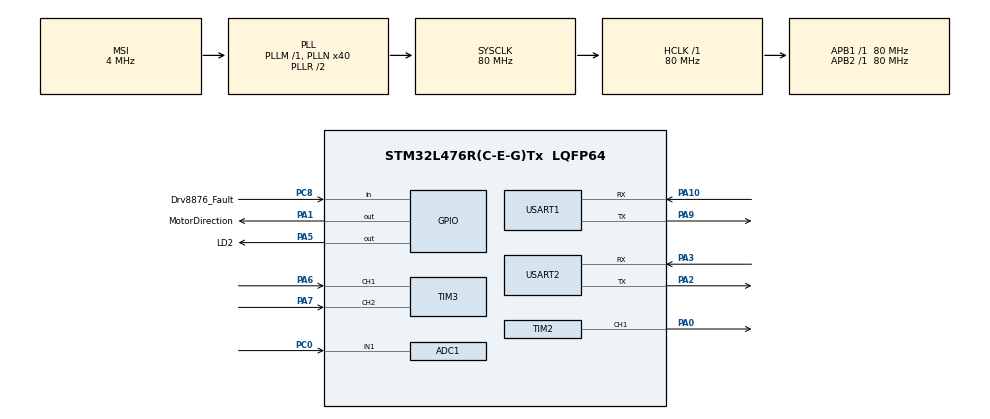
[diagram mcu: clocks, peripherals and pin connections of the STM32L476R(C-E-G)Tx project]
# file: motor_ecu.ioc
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ADC1.Channel-1\#ChannelRegularConversion=ADC_CHANNEL_1
ADC1.ContinuousConvMode=ENABLE
ADC1.NbrOfConversionFlag=1
ADC1.OffsetNumber-1\#ChannelRegularConversion=ADC_OFFSET_NONE
ADC1.Overrun=ADC_OVR_DATA_OVERWRITTEN
ADC1.OversamplingMode=ENABLE
ADC1.Rank-1\#ChannelRegularConversion=1
ADC1.Ratio=ADC_OVERSAMPLING_RATIO_16
ADC1.RightBitShift=ADC_RIGHTBITSHIFT_4
ADC1.SamplingTime-1\#ChannelRegularConversion=ADC_SAMPLETIME_640CYCLES_5
ADC1.master=1
Mcu.Family=STM32L4
Mcu.Name=STM32L476R(C-E-G)Tx
Mcu.Package=LQFP64
NVIC.PriorityGroup=NVIC_PRIORITYGROUP_4
NVIC.USART1_IRQn=true\:8\:0\:true\:false\:true\:true\:true\:true
PA0.Signal=S_TIM2_CH1
PA1.GPIO_Label=MotorDirection
PA1.Signal=GPIO_Output
PA10.Mode=Asynchronous
PA10.Signal=USART1_RX
PA13\ (JTMS-SWDIO).Mode=Serial_Wire
PA13\ (JTMS-SWDIO).Signal=SYS_JTMS-SWDIO
PA14\ (JTCK-SWCLK).Mode=Serial_Wire
PA14\ (JTCK-SWCLK).Signal=SYS_JTCK-SWCLK
PA2.Mode=Asynchronous
PA2.Signal=USART2_TX
PA3.Mode=Asynchronous
PA3.Signal=USART2_RX
PA5.GPIO_Label=LD2
PA5.Signal=GPIO_Output
PA6.Signal=S_TIM3_CH1
PA7.Signal=S_TIM3_CH2
PA9.Mode=Asynchronous
PA9.Signal=USART1_TX
PC0.Signal=ADCx_IN1
PC8.GPIO_Label=Drv8876_Fault
PC8.GPIO_PuPd=GPIO_NOPULL
PC8.Signal=GPIO_Input
ProjectManager.HeapSize=0x200
ProjectManager.StackSize=0x400
ProjectManager.TargetToolchain=STM32CubeIDE
RCC.ADCFreq_Value=32000000
RCC.AHBFreq_Value=80000000
RCC.APB1Freq_Value=80000000
RCC.APB1TimFreq_Value=80000000
RCC.APB2Freq_Value=80000000
RCC.APB2TimFreq_Value=80000000
RCC.CortexFreq_Value=80000000
RCC.HCLKFreq_Value=80000000
RCC.HSE_VALUE=8000000
RCC.HSI_VALUE=16000000
RCC.LSE_VALUE=32768
RCC.MSI_VALUE=4000000
RCC.PLLN=40
RCC.PLLSAI1N=16
RCC.SYSCLKFreq_VALUE=80000000
RCC.SYSCLKSource=RCC_SYSCLKSOURCE_PLLCLK
RCC.USBFreq_Value=32000000
RCC.VCOOutputFreq_Value=160000000
SH.ADCx_IN1.0=ADC1_IN1,IN1-Single-Ended
SH.S_TIM2_CH1.0=TIM2_CH1,PWM Generation1 CH1
SH.S_TIM3_CH1.0=TIM3_CH1,Encoder_Interface
SH.S_TIM3_CH2.0=TIM3_CH2,Encoder_Interface
TIM2.AutoReloadPreload=TIM_AUTORELOAD_PRELOAD_ENABLE
TIM2.Channel-PWM\ Generation1\ CH1=TIM_CHANNEL_1
TIM2.Period=3999
USART1.VirtualMode-Asynchronous=VM_ASYNC
USART2.VirtualMode-Asynchronous=VM_ASYNC
VP_TIM2_VS_ClockSourceINT.Mode=Internal
board=custom

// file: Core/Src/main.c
/* USER CODE BEGIN Header */
/**
 ******************************************************************************
 * @file           : main.c
 * @brief          : Main program body
 ******************************************************************************
 * @attention
 *
 * Copyright (c) 2026 STMicroelectronics.
 * All rights reserved.
 *
 * This software is licensed under terms that can be found in the LICENSE file
 * in the root directory of this software component.
 * If no LICENSE file comes with this software, it is provided AS-IS.
 *
 ******************************************************************************
 */
/* USER CODE END Header */
#include "main.h"
#include "adc.h"
#include "tim.h"
#include "usart.h"
#include "gpio.h"

/* USER CODE BEGIN Includes */
#include <string.h>
#include "motor_control.h"
#include "current_sense.h"
#include "speed_sensor.h"
#include "telemetry.h"
#include <stdio.h>
#include <stdlib.h>
#include <math.h>
#include <pi_controller.h>
#include <uart_interface.h>
#include "diagnostics.h"
/* USER CODE END Includes */

/* USER CODE BEGIN PV */
//static float target_rpm = 0.0f;
//static uint8_t motor_enabled = 0;
/* USER CODE END PV */

void SystemClock_Config(void);

/* USER CODE BEGIN 0 */
uint8_t rx_byte;

/*
 * Retargets standard C library output (printf) to USART2.
 * Required for any printf()-based debug/telemetry logging to actually
 * appear on the wire — without this, printf() calls elsewhere silently
 * do nothing (or behave per whatever default newlib backend is linked).
 */
int __io_putchar(int ch)
{
    if (ch == '\n')
    {
        uint8_t ch2 = '\r';
        HAL_UART_Transmit(&huart2, &ch2, 1, HAL_MAX_DELAY);
    }
    HAL_UART_Transmit(&huart2, (uint8_t*) &ch, 1, HAL_MAX_DELAY);
    return 1;
}

/*
 * USART1 RX interrupt callback: fires once per received byte (single-byte
 * reception is re-armed at the end, so this must stay fast and non-blocking).
 * Bytes are handed off to the command-line assembler in uart_interface.c;
 * actual command parsing happens later in the main loop via
 * UART_Command_Get(), not here in interrupt context.
 */
void HAL_UART_RxCpltCallback(UART_HandleTypeDef *huart)
{
    if (huart->Instance == USART1)
    {
        UART_Command_ReceiveByte(rx_byte);

        HAL_UART_Receive_IT(&huart1, &rx_byte, 1);
    }
}

/* USER CODE END 0 */

int main(void)
{

  /* MCU Configuration--------------------------------------------------------*/

  /* Reset of all peripherals, Initializes the Flash interface and the Systick. */
  HAL_Init();

  /* Configure the system clock */
  SystemClock_Config();

  /* Initialize all configured peripherals */
  MX_GPIO_Init();
  MX_USART2_UART_Init();
  MX_TIM2_Init();
  MX_ADC1_Init();
  MX_TIM3_Init();
  MX_USART1_UART_Init();
  HAL_UART_Receive_IT(&huart1, &rx_byte, 1);
  /* USER CODE BEGIN 2 */
    HAL_TIM_PWM_Start(&htim2, TIM_CHANNEL_1);    // start motor PWM channel
    CurrentSense_Init();
    SpeedSensor_Init();
    PI_Init(1.1f, 0.4f);                        // kp = 1.1, ki = 0.4 (PI controller, no derivative term)
    Diagnostics_Init();
  /* USER CODE END 2 */

  /* Infinite loop */
  /* USER CODE BEGIN WHILE */
    char command[LINE_MAX_LENGTH + 1];

    while (1)
    {
        static uint32_t timer     = 0;   // 250ms telemetry period
        static uint32_t pid_timer = 0;   // 10ms control-loop period

        /* --- UART command reception --- */
        // Non-blocking: only processes a command once a full line has
        // been assembled (terminated by \r or \n) in uart_interface.c.
        if (UART_Command_Get(command))
        {
            Diagnostics_CommAlive();   // any received line counts as "supervisor alive"
            Process_Command(command);
        }

        // Poll the encoder counter and refresh the RPM estimate.
        // Internally rate-limited to UPDATE_PERIOD_MS (10ms), so calling
        // it every loop iteration is safe and keeps the reading current.
        SpeedSensor_Update();

        /* --- Control loop: runs every 10ms --- */
        if (HAL_GetTick() - pid_timer >= 10)
        {
            pid_timer = HAL_GetTick();

            // Speed sensor reports signed RPM (direction implicit in
            // encoder count direction); PID operates on magnitude only,
            // since direction is set separately via Motor_SetDirection().
            float rpm = fabsf(SpeedSensor_GetRPM());
            float pwm = 0.0f;

            if (motor_enabled)
            {
                pwm = PI_Update(target_rpm, rpm);
                Motor_SetSpeed((uint8_t) pwm);
            }
            // Diagnostics run unconditionally, even when the motor is disabled.
            // This matters specifically for Driver_Overcurrent() (DRV8876 nFAULT pin):
            // it's a hardware protection signal (overcurrent/overvoltage) that can
            // assert regardless of whether we're actively commanding the motor, so it
            // must not be gated behind motor_enabled.
            //
            // The stall and tracking checks only make sense while the motor is being
            // driven, so they receive a setpoint of 0 when the motor is disabled
            // (their thresholds require setpoint > STALL_SETPOINT_MIN). Passing the
            // stale target_rpm here would compare it against a stopped motor and
            // re-latch a tracking error right after the faults are cleared with 'R'.
            float diag_setpoint = motor_enabled ? target_rpm : 0.0f;
            Diagnostics_Update(diag_setpoint, rpm, pwm, motor_enabled);

            uint8_t faults = Diagnostics_GetFaults();

            if (faults != MOTOR_FAULT_NONE)
            {
                // Fail-safe: any active fault immediately stops the motor
                // and disables control until explicitly cleared via the
                // 'R' UART command (Diagnostics_ClearFaults()).
            	 Motor_Stop();
            	 motor_enabled = false;
            	 target_rpm = 0.0f;   // drop the stale setpoint
            	 PI_Reset();          // clear the integrator so a restart doesn't jump
            	 printf("Faults = 0x%02X\r\n", faults);
            }
        }

        /* --- Telemetry: runs every 250ms --- */
        if (HAL_GetTick() - timer >= 250)
        {
            timer = HAL_GetTick();

            float current = CurrentSense_ReadCurrent();
            float rpm = fabsf(SpeedSensor_GetRPM());

            // Clamp before casting to uint16_t: target_rpm should already be
            // non-negative (enforced in Process_Command), but this keeps the
            // telemetry packing safe even if that invariant is ever broken
            // elsewhere in the code.
            float safe_target_rpm = (target_rpm < 0.0f) ? 0.0f : target_rpm;
            uint16_t set_speed = (uint16_t) safe_target_rpm;

            uint8_t pwm = Motor_GetPWM();

            Telemetry_SendData(current, rpm, pwm, set_speed);
        }
    }
    /* USER CODE END WHILE */

}

void SystemClock_Config(void)
{
  RCC_OscInitTypeDef RCC_OscInitStruct = {0};
  RCC_ClkInitTypeDef RCC_ClkInitStruct = {0};

  /** Configure the main internal regulator output voltage
  */
  if (HAL_PWREx_ControlVoltageScaling(PWR_REGULATOR_VOLTAGE_SCALE1) != HAL_OK)
  {
    Error_Handler();
  }

  /** Initializes the RCC Oscillators according to the specified parameters
  * in the RCC_OscInitTypeDef structure.
  */
  RCC_OscInitStruct.OscillatorType = RCC_OSCILLATORTYPE_MSI;
  RCC_OscInitStruct.MSIState = RCC_MSI_ON;
  RCC_OscInitStruct.MSICalibrationValue = 0;
  RCC_OscInitStruct.MSIClockRange = RCC_MSIRANGE_6;
  RCC_OscInitStruct.PLL.PLLState = RCC_PLL_ON;
  RCC_OscInitStruct.PLL.PLLSource = RCC_PLLSOURCE_MSI;
  RCC_OscInitStruct.PLL.PLLM = 1;
  RCC_OscInitStruct.PLL.PLLN = 40;
  RCC_OscInitStruct.PLL.PLLP = RCC_PLLP_DIV7;
  RCC_OscInitStruct.PLL.PLLQ = RCC_PLLQ_DIV2;
  RCC_OscInitStruct.PLL.PLLR = RCC_PLLR_DIV2;
  if (HAL_RCC_OscConfig(&RCC_OscInitStruct) != HAL_OK)
  {
    Error_Handler();
  }

  /** Initializes the CPU, AHB and APB buses clocks
  */
  RCC_ClkInitStruct.ClockType = RCC_CLOCKTYPE_HCLK|RCC_CLOCKTYPE_SYSCLK
                              |RCC_CLOCKTYPE_PCLK1|RCC_CLOCKTYPE_PCLK2;
  RCC_ClkInitStruct.SYSCLKSource = RCC_SYSCLKSOURCE_PLLCLK;
  RCC_ClkInitStruct.AHBCLKDivider = RCC_SYSCLK_DIV1;
  RCC_ClkInitStruct.APB1CLKDivider = RCC_HCLK_DIV1;
  RCC_ClkInitStruct.APB2CLKDivider = RCC_HCLK_DIV1;

  if (HAL_RCC_ClockConfig(&RCC_ClkInitStruct, FLASH_LATENCY_4) != HAL_OK)
  {
    Error_Handler();
  }
}

void Error_Handler(void)
{
	__disable_irq();
	while (1) {
	}
}
